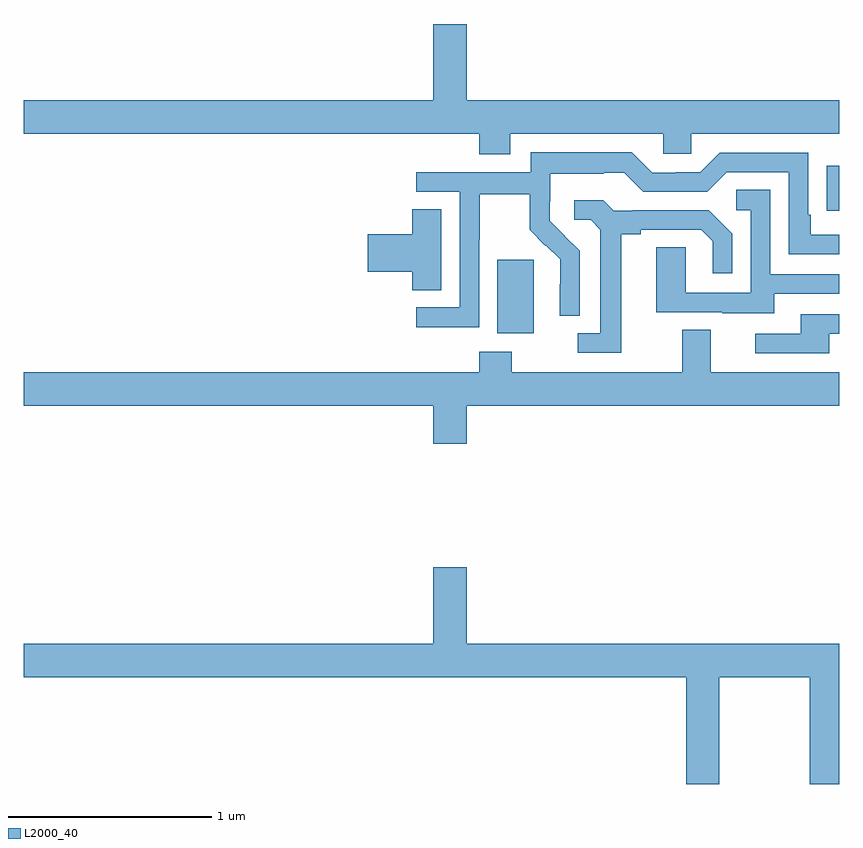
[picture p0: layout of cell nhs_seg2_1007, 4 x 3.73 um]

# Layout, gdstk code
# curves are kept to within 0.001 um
import gdstk
lib = gdstk.Library(unit=1e-6, precision=1e-09)
def R(c, l, rs):  # rectangles x0, y0, x1, y1
    for r in rs: c.add(gdstk.rectangle(r[:2], r[2:], *l))
def P(c, l, *ps):  # polygons
    for p in ps: c.add(gdstk.Polygon(p, *l))
L2000_40 = (2000, 40)

nhs_seg2_1007 = lib.new_cell('nhs_seg2_1007')
R(nhs_seg2_1007, L2000_40, [(165.323,628.01,165.502,628.371), (166.939,628.612,167,628.831)])
P(nhs_seg2_1007, L2000_40, [(165.385,628.988),(166.137,628.988),(166.137,628.89),(166.275,628.89),(166.275,628.988),(167,628.988),(167,629.152),(165.172,629.152),(165.172,629.527),(165.008,629.527),(165.008,629.152),(163,629.152),(163,628.988),(165.233,628.988),(165.233,628.889),(165.385,628.889)],
  [(165.234,628.468),(165.237,628.468),(165.237,628.692),(165.481,628.692),(165.481,628.517),(165.558,628.44),(165.561,628.443),(165.632,628.373),(165.632,628.25),(165.63,628.25),(165.63,628.096),(165.726,628.096),(165.726,628.414),(165.58,628.562),(165.58,628.659),(165.582,628.659),(165.582,628.793),(165.845,628.793),(165.845,628.797),(165.945,628.797),(166.038,628.704),(166.353,628.704),(166.449,628.8),(166.752,628.8),(166.752,628.398),(167,628.398),(167,628.494),(166.861,628.494),(166.861,628.591),(166.848,628.591),(166.848,628.896),(166.413,628.896),(166.317,628.8),(166.199,628.8),(166.199,628.797),(166.083,628.797),(165.983,628.897),(165.486,628.897),(165.486,628.8),(164.925,628.8),(164.925,628.704),(165.138,628.704),(165.138,628.137),(164.925,628.137),(164.925,628.039),(165.234,628.039)],
  [(166.681,628.203),(167,628.203),(167,628.299),(166.662,628.299),(166.662,628.715),(166.494,628.715),(166.494,628.614),(166.566,628.614),(166.566,628.209),(166.248,628.209),(166.248,628.433),(166.103,628.433),(166.103,628.113),(166.427,628.113),(166.427,628.109),(166.681,628.109)],
  [(165.931,628.496),(166.027,628.496),(166.027,628.518),(166.322,628.518),(166.379,628.461),(166.379,628.305),(166.476,628.305),(166.476,628.498),(166.36,628.614),(165.988,628.614),(165.988,628.611),(165.894,628.611),(165.842,628.663),(165.699,628.663),(165.699,628.566),(165.78,628.566),(165.827,628.519),(165.827,628.011),(165.717,628.011),(165.717,627.915),(165.931,627.915)],
  [(165.049,628.619),(164.906,628.619),(164.906,628.496),(164.688,628.496),(164.688,628.313),(164.906,628.313),(164.906,628.222),(165.049,628.222)],
  [(166.951,628.008),(167,628.008),(167,628.104),(166.811,628.104),(166.811,628.008),(166.587,628.008),(166.587,627.912),(166.951,627.912)],
  [(165.172,627.656),(167,627.656),(167,627.82),(166.369,627.82),(166.369,628.028),(166.229,628.028),(166.229,627.82),(165.393,627.82),(165.393,627.919),(165.233,627.919),(165.233,627.82),(163,627.82),(163,627.656),(165.008,627.656),(165.008,627.468),(165.172,627.468)],
  [(166.41,626.324),(166.855,626.324),(166.855,625.8),(167,625.8),(167,626.488),(165.172,626.488),(165.172,626.863),(165.008,626.863),(165.008,626.488),(163,626.488),(163,626.324),(166.25,626.324),(166.25,625.8),(166.41,625.8)])

lib.write_gds('nhs_seg2_1007.gds')
